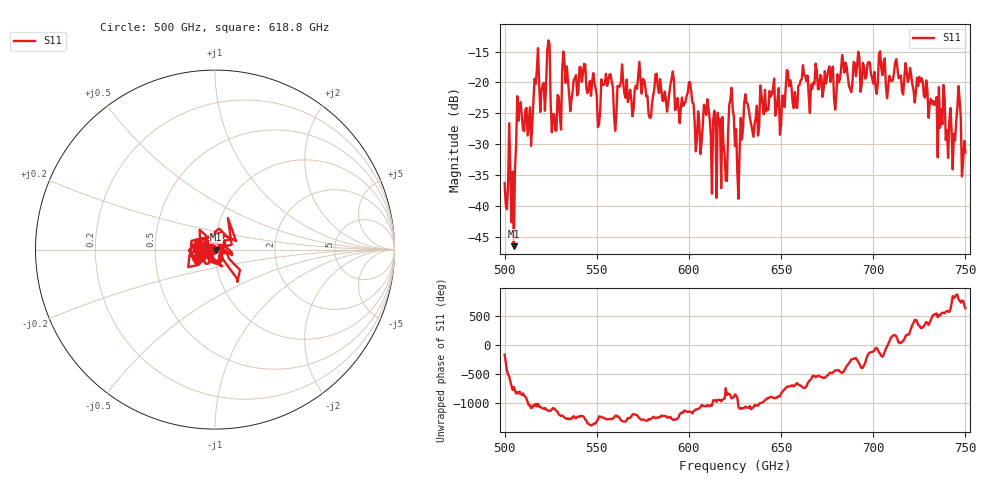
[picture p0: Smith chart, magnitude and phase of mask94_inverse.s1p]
!Created with skrf (http://scikit-rf.org).
# GHz S MA R 50.0
!freq magS11 angS11
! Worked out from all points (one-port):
!   401 points, 500 GHz to 750 GHz, reference 50 ohm
!   lowest |S11| = -46.5 dB at 505 GHz (marker M1), VSWR 1.01, Z = 50.5 - j0.0239 ohm
!   |S11| at or under -10 dB: start of sweep to end of sweep
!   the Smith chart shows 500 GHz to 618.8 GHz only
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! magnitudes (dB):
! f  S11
! 500 GHz  -36.3
! 505 GHz  -46.5
! 508.1 GHz  -23.6
! 513.8 GHz  -24.0
! 516.9 GHz  -20.2
! 520.6 GHz  -20.3
! 523.8 GHz  -13.2
! 526.9 GHz  -25.1
! 531.2 GHz  -18.0
! 542.5 GHz  -18.6
! 550.6 GHz  -27.2
! 562.5 GHz  -20.7
! 590.6 GHz  -19.4
! 593.8 GHz  -22.5
! 600 GHz  -20.0
! 605 GHz  -24.7
! 609.4 GHz  -25.3
! 620 GHz  -35.9
! 623.1 GHz  -20.9
! 625 GHz  -30.3
! 626.2 GHz  -34.4
! 631.2 GHz  -23.3
! 656.2 GHz  -23.3
! 687.5 GHz  -21.1
! 718.8 GHz  -19.9
! 741.9 GHz  -24.1
! 746.2 GHz  -20.6
! 750 GHz  -31.3
